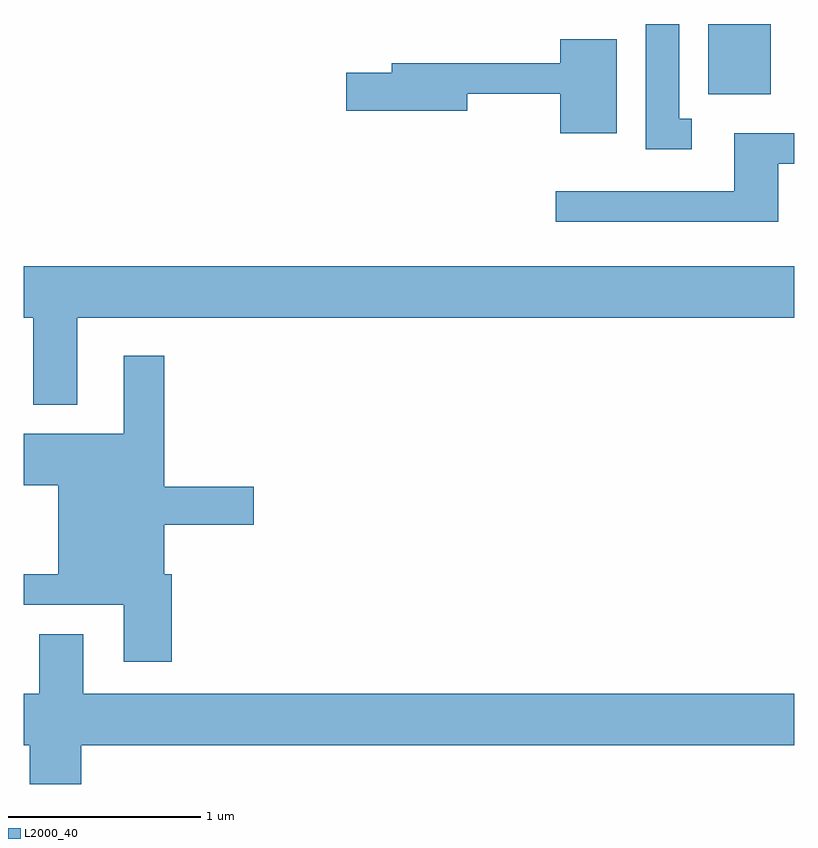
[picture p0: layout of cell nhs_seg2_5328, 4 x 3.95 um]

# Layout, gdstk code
import gdstk
lib = gdstk.Library(unit=1e-6, precision=1e-09)
def R(c, l, rs):  # rectangles x0, y0, x1, y1
    for r in rs: c.add(gdstk.rectangle(r[:2], r[2:], *l))
def P(c, l, *ps):  # polygons
    for p in ps: c.add(gdstk.Polygon(p, *l))
L2000_40 = (2000, 40)

nhs_seg2_5328 = lib.new_cell('nhs_seg2_5328')
R(nhs_seg2_5328, L2000_40, [(345.166,1089.436,345.489,1089.802)])
P(nhs_seg2_5328, L2000_40, [(345.078,1089.309),(345.014,1089.309),(345.014,1089.802),(344.841,1089.802),(344.841,1089.151),(345.078,1089.151)],
  [(344.689,1089.724),(344.396,1089.724),(344.396,1089.599),(343.521,1089.599),(343.521,1089.549),(343.286,1089.549),(343.286,1089.351),(343.914,1089.351),(343.914,1089.441),(344.396,1089.441),(344.396,1089.236),(344.689,1089.236)],
  [(345.529,1089.076),(345.611,1089.076),(345.611,1089.234),(345.301,1089.234),(345.301,1088.934),(344.373,1088.934),(344.373,1088.776),(345.529,1088.776)],
  [(341.889,1088.276),(345.611,1088.276),(345.611,1088.544),(341.611,1088.544),(341.611,1088.276),(341.661,1088.276),(341.661,1087.826),(341.889,1087.826)],
  [(342.379,1086.944),(342.339,1086.944),(342.339,1087.201),(342.804,1087.201),(342.804,1087.399),(342.339,1087.399),(342.339,1088.079),(342.131,1088.079),(342.131,1087.674),(341.611,1087.674),(341.611,1087.406),(341.791,1087.406),(341.791,1086.944),(341.611,1086.944),(341.611,1086.786),(342.131,1086.786),(342.131,1086.491),(342.379,1086.491)],
  [(341.909,1086.056),(345.611,1086.056),(345.611,1086.324),(341.919,1086.324),(341.919,1086.634),(341.691,1086.634),(341.691,1086.324),(341.611,1086.324),(341.611,1086.056),(341.641,1086.056),(341.641,1085.856),(341.909,1085.856)])

lib.write_gds('nhs_seg2_5328.gds')
